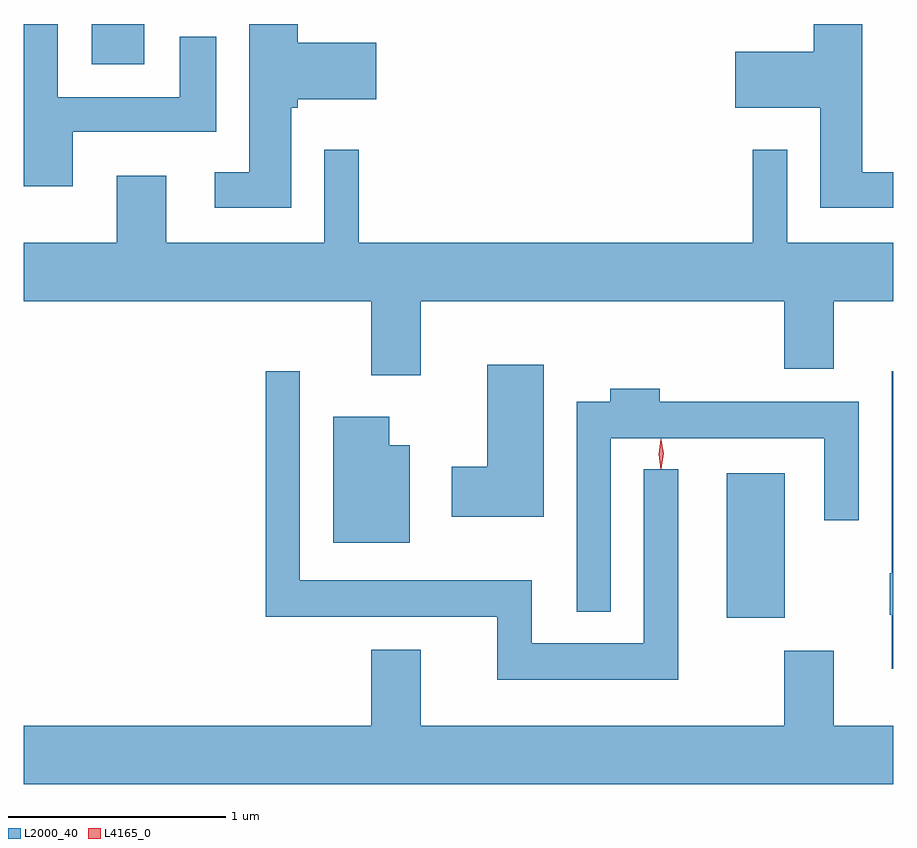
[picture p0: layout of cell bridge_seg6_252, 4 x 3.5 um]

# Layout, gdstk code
import gdstk
lib = gdstk.Library(unit=1e-6, precision=1e-09)
def R(c, l, rs):  # rectangles x0, y0, x1, y1
    for r in rs: c.add(gdstk.rectangle(r[:2], r[2:], *l))
def P(c, l, *ps):  # polygons
    for p in ps: c.add(gdstk.Polygon(p, *l))
L2000_40 = (2000, 40)
L4165_0 = (4165, 0)

bridge_seg6_252 = lib.new_cell('bridge_seg6_252')
R(bridge_seg6_252, L2000_40, [(1230.166,1590.761,1230.434,1591.424), (1227.246,1593.306,1227.489,1593.491)])
P(bridge_seg6_252, L2000_40, [(1228.164,1593.106),(1228.194,1593.106),(1228.194,1593.146),(1228.554,1593.146),(1228.554,1593.404),(1228.194,1593.404),(1228.194,1593.491),(1227.971,1593.491),(1227.971,1592.809),(1227.813,1592.809),(1227.813,1592.646),(1228.164,1592.646)],
  [(1230.933,1592.809),(1230.789,1592.809),(1230.789,1593.491),(1230.566,1593.491),(1230.566,1593.364),(1230.206,1593.364),(1230.206,1593.106),(1230.596,1593.106),(1230.596,1592.646),(1230.933,1592.646)],
  [(1227.159,1592.996),(1227.819,1592.996),(1227.819,1593.433),(1227.651,1593.433),(1227.651,1593.154),(1227.089,1593.154),(1227.089,1593.491),(1226.933,1593.491),(1226.933,1592.746),(1227.159,1592.746)],
  [(1228.759,1592.216),(1230.431,1592.216),(1230.431,1591.906),(1230.659,1591.906),(1230.659,1592.216),(1230.933,1592.216),(1230.933,1592.484),(1230.444,1592.484),(1230.444,1592.913),(1230.286,1592.913),(1230.286,1592.484),(1228.474,1592.484),(1228.474,1592.913),(1228.316,1592.913),(1228.316,1592.484),(1227.589,1592.484),(1227.589,1592.794),(1227.361,1592.794),(1227.361,1592.484),(1226.933,1592.484),(1226.933,1592.216),(1228.531,1592.216),(1228.531,1591.876),(1228.759,1591.876)],
  [(1229.324,1591.924),(1229.066,1591.924),(1229.066,1591.454),(1228.901,1591.454),(1228.901,1591.226),(1229.324,1591.226)],
  [(1230.933,1591.893),(1230.926,1591.893),(1230.926,1590.965),(1230.916,1590.965),(1230.916,1590.775),(1230.926,1590.775),(1230.926,1590.526),(1230.933,1590.526)],
  [(1229.944,1591.443),(1229.786,1591.443),(1229.786,1590.644),(1229.269,1590.644),(1229.269,1590.934),(1228.204,1590.934),(1228.204,1591.893),(1228.046,1591.893),(1228.046,1590.766),(1229.111,1590.766),(1229.111,1590.476),(1229.944,1590.476)],
  [(1229.634,1591.586),(1230.616,1591.586),(1230.616,1591.208),(1230.774,1591.208),(1230.774,1591.754),(1229.859,1591.754),(1229.859,1591.814),(1229.631,1591.814),(1229.631,1591.754),(1229.476,1591.754),(1229.476,1590.788),(1229.634,1590.788)],
  [(1228.709,1591.554),(1228.614,1591.554),(1228.614,1591.684),(1228.356,1591.684),(1228.356,1591.106),(1228.709,1591.106)],
  [(1230.933,1590.264),(1230.659,1590.264),(1230.659,1590.609),(1230.431,1590.609),(1230.431,1590.264),(1228.759,1590.264),(1228.759,1590.614),(1228.531,1590.614),(1228.531,1590.264),(1226.933,1590.264),(1226.933,1589.996),(1230.933,1589.996)])
P(bridge_seg6_252, L4165_0, [(1229.866,1591.447),(1229.866,1591.447),(1229.856,1591.514),(1229.866,1591.58),(1229.866,1591.58),(1229.866,1591.58),(1229.876,1591.514),(1229.866,1591.447)],
  [(1229.864,1591.444),(1229.855,1591.513),(1229.864,1591.582),(1229.865,1591.583),(1229.866,1591.582),(1229.875,1591.513),(1229.866,1591.444),(1229.865,1591.444)])

lib.write_gds('bridge_seg6_252.gds')
